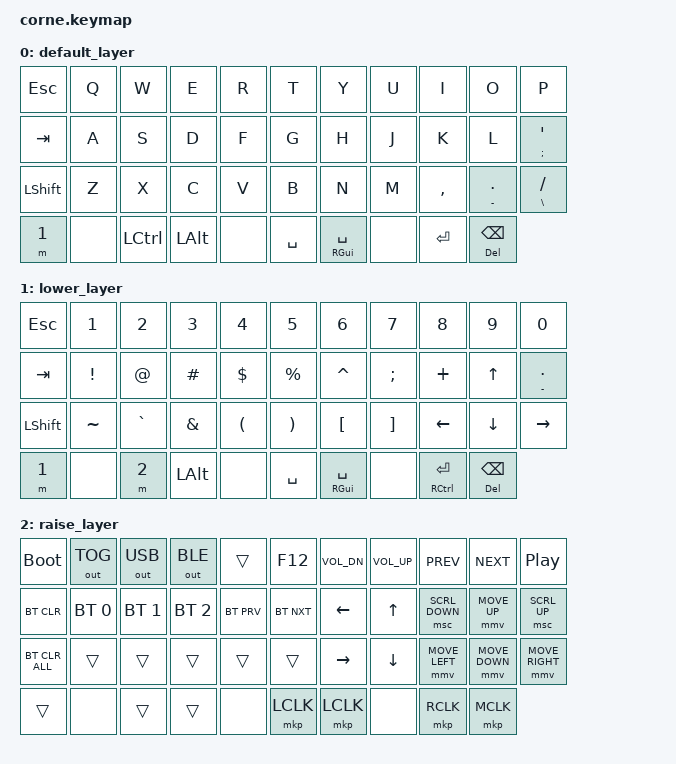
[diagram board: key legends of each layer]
#include <behaviors.dtsi>
#include <dt-bindings/zmk/keys.h>
#include <dt-bindings/zmk/bt.h>
#include <dt-bindings/zmk/pointing.h>
#include <dt-bindings/zmk/outputs.h>

/* 1) Disable the stock momentary-layer behavior so it doesn't instantiate */
&mo { status = "disabled"; };

/* 2) Re-add a minimal-path replacement at the DT root */
 / {
    m: m {
        compatible = "zmk,behavior-momentary-layer";
        label = "M";
        #binding-cells = <1>;
    };

    /* Outputs setup */
    out_usb: out_usb { compatible = "zmk,output-usb"; };
    out_bluetooth: out_bluetooth { compatible = "zmk,output-bluetooth"; };

    output_select: behavior_output_selector {
        compatible = "zmk,behavior-output-selector";
        #binding-cells = <1>;
    };

    outputs {
        compatible = "zmk,output-selector";
        input = <&output_select>;
        outputs = <&out_usb>, <&out_bluetooth>;
    };

    chosen { zmk,output-selector = &output_select; };

    /* Keymap */
    keymap {
        compatible = "zmk,keymap";

        default_layer {
            bindings = <
                &kp ESC    &kp Q       &kp W       &kp E        &kp R        &kp T          &kp Y           &kp U        &kp I         &kp O          &kp P
                &kp TAB    &kp A       &kp S       &kp D        &kp F        &kp G          &kp H           &kp J        &kp K         &kp L          &mt SEMI SQT
                &kp LSHFT  &kp Z       &kp X       &kp C        &kp V        &kp B          &kp N           &kp M        &kp COMMA     &mt MINUS DOT  &mt BSLH FSLH
                &m 1       &none       &kp LCTRL   &kp LALT     &none        &kp SPACE      &mt RGUI SPACE  &none        &kp RET       &mt DEL BSPC
            >;
        };

        lower_layer {
            bindings = <
                &kp ESC        &kp N1       &kp N2       &kp N3       &kp N4       &kp N5          &kp N6          &kp N7       &kp N8         &kp N9         &kp N0
                &kp TAB        &kp EXCL     &kp AT       &kp HASH     &kp DLLR     &kp PRCNT       &kp CARET       &kp SEMI     &kp PLUS       &kp UP         &mt MINUS DOT
                &kp LSHFT      &kp TILDE    &kp GRAVE    &kp AMPS     &kp LPAR     &kp RPAR        &kp LBKT        &kp RBKT     &kp LEFT       &kp DOWN       &kp RIGHT
                &m 1           &none        &m 2         &kp LALT     &none        &kp SPACE       &mt RGUI SPACE  &none        &mt RCTRL RET  &mt DEL BSPC
            >;
        };

        raise_layer {
            bindings = <
                &bootloader     &out OUT_TOG  &out OUT_USB  &out OUT_BLE  &trans        &kp F12        &kp C_VOL_DN   &kp C_VOL_UP   &kp C_PREV       &kp C_NEXT       &kp C_PP
                &bt BT_CLR      &bt BT_SEL 0  &bt BT_SEL 1  &bt BT_SEL 2  &bt BT_PRV    &bt BT_NXT     &kp LEFT       &kp UP         &msc SCRL_DOWN   &mmv MOVE_UP     &msc SCRL_UP
                &bt BT_CLR_ALL  &trans        &trans        &trans        &trans        &trans         &kp RIGHT      &kp DOWN       &mmv MOVE_LEFT   &mmv MOVE_DOWN   &mmv MOVE_RIGHT
                &trans          &none         &trans        &trans        &none         &mkp LCLK      &mkp LCLK      &none          &mkp RCLK        &mkp MCLK
            >;
        };
    };
};
